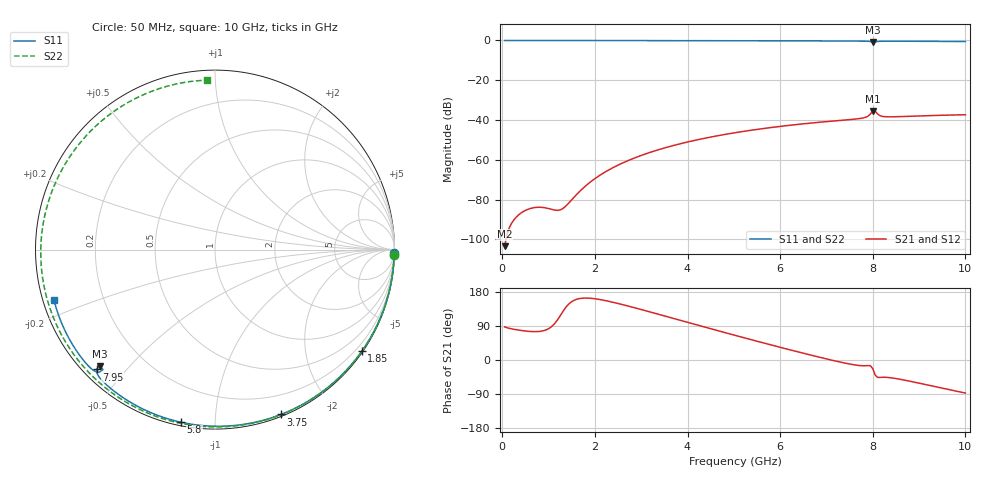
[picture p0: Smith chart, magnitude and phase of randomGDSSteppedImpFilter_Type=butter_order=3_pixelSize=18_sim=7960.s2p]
! freq	dB(S11)	phase(S11)	dB(S12)	phase(S12)
!  dB(S21)	phase(S21)	dB(S22)	phase(S22)
!S-par simulation data
#  GHz  S  DB  R 50
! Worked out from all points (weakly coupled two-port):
!   200 points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, 50 MHz to 10 GHz, reference 50 ohm
!   highest |S21| = -35.42 dB at 8 GHz (marker M1); lowest = -103.5 dB at 50 MHz (marker M2)
!   lowest |S11| = -0.8 dB at 8 GHz (marker M3), VSWR 21.74, Z = 2.7 - j20.8 ohm
!   |S11| at or under -10 dB: nowhere
!   |S22| runs from -0.5 to 0.0 dB; largest |S21 - S12| = 0
!   S11 on the Smith chart (normalised r, x): 50 MHz: open; 1.85 GHz: 0.03, -3.20; 3.75 GHz: 0.02, -1.48; 5.8 GHz: 0.02, -0.82; 7.95 GHz: 0.04, -0.42; 10 GHz: 0.03, -0.15
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0.05  -0.00 -0.9  -103.45 87.5  -103.45 87.5  -0.01 -1.8
0.7  -0.02 -13.3  -84.03 74.8  -84.03 74.8  -0.03 -26.2
1.5  -0.04 -28.3  -80.11 154.1  -80.11 154.1  -0.07 -54.7
1.75  -0.04 -32.9  -74.16 163.3  -74.16 163.3  -0.08 -63.1
1.85  -0.04 -34.7  -72.15 163.3  -72.15 163.3  -0.08 -66.5
2.15  -0.05 -40.1  -67.16 158.6  -67.16 158.6  -0.09 -76.2
2.5  -0.06 -46.4  -62.69 149.1  -62.69 149.1  -0.10 -87.0
3.4  -0.08 -62.2  -54.76 119.8  -54.76 119.8  -0.13 -112.9
3.75  -0.09 -68.1  -52.49 107.9  -52.49 107.9  -0.14 -122.2
4.4  -0.11 -78.9  -49.04 85.9  -49.04 85.9  -0.17 -138.6
5.05  -0.14 -89.4  -46.31 64.3  -46.31 64.3  -0.20 -154.0
5.8  -0.17 -101.1  -43.80 39.9  -43.80 39.9  -0.24 -171.1
6.7  -0.22 -114.8  -41.46 11.8  -41.46 11.8  -0.29 168.9
7.75  -0.33 -130.8  -39.16 -15.0  -39.16 -15.0  -0.36 145.6
7.85  -0.37 -132.6  -38.61 -15.1  -38.61 -15.1  -0.36 143.3
7.95  -0.55 -134.7  -36.97 -15.3  -36.97 -15.3  -0.37 141.1
8  -0.80 -134.8  -35.42 -23.0  -35.42 -23.0  -0.37 140.0
8.05  -0.77 -133.0  -35.49 -39.3  -35.49 -39.3  -0.37 138.9
8.15  -0.44 -134.4  -37.75 -46.0  -37.75 -46.0  -0.38 136.6
8.35  -0.37 -138.0  -38.42 -46.3  -38.42 -46.3  -0.39 132.0
9.2  -0.44 -150.8  -37.80 -66.4  -37.80 -66.4  -0.45 112.1
10  -0.53 -162.7  -37.36 -87.3  -37.36 -87.3  -0.49 92.7
